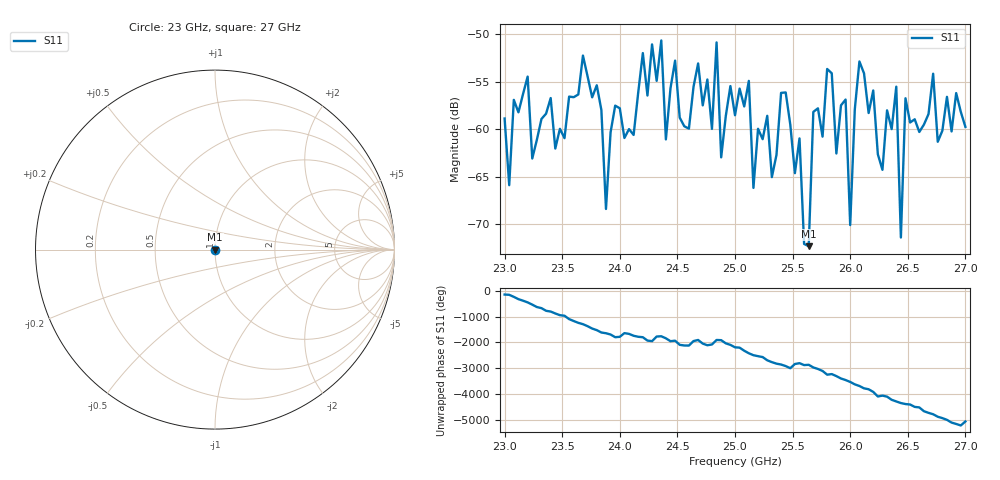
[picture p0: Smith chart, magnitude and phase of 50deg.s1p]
#  HZ  S  RI  R  50.00
! Rohde & Schwarz ZVA40 4Ports - Version 3.90 - 1145.1110k42 SN: 100403
! Date: 2023-09-26 11:05:56
! Measurement: S12
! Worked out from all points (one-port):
!   101 points, 23 GHz to 27 GHz, reference 50 ohm
!   lowest |S11| = -72.3 dB at 25.64 GHz (marker M1), VSWR 1.00, Z = 50 + j0.00538 ohm
!   |S11| at or under -10 dB: start of sweep to end of sweep
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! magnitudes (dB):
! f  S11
! 23 GHz  -58.9
! 23.52 GHz  -60.9
! 23.68 GHz  -52.2
! 23.88 GHz  -68.4
! 24 GHz  -57.8
! 24.36 GHz  -50.7
! 24.4 GHz  -61.1
! 24.52 GHz  -58.8
! 24.8 GHz  -60.0
! 24.84 GHz  -50.9
! 24.88 GHz  -63.0
! 25 GHz  -58.5
! 25.12 GHz  -54.9
! 25.16 GHz  -66.2
! 25.44 GHz  -56.1
! 25.52 GHz  -64.6
! 25.64 GHz  -72.3
! 25.68 GHz  -58.2
! 25.8 GHz  -53.7
! 25.96 GHz  -56.9
! 26 GHz  -70.1
! 26.08 GHz  -52.9
! 26.28 GHz  -64.3
! 26.4 GHz  -55.5
! 26.44 GHz  -71.4
! 26.48 GHz  -56.7
! 26.52 GHz  -59.3
! 27 GHz  -59.8
